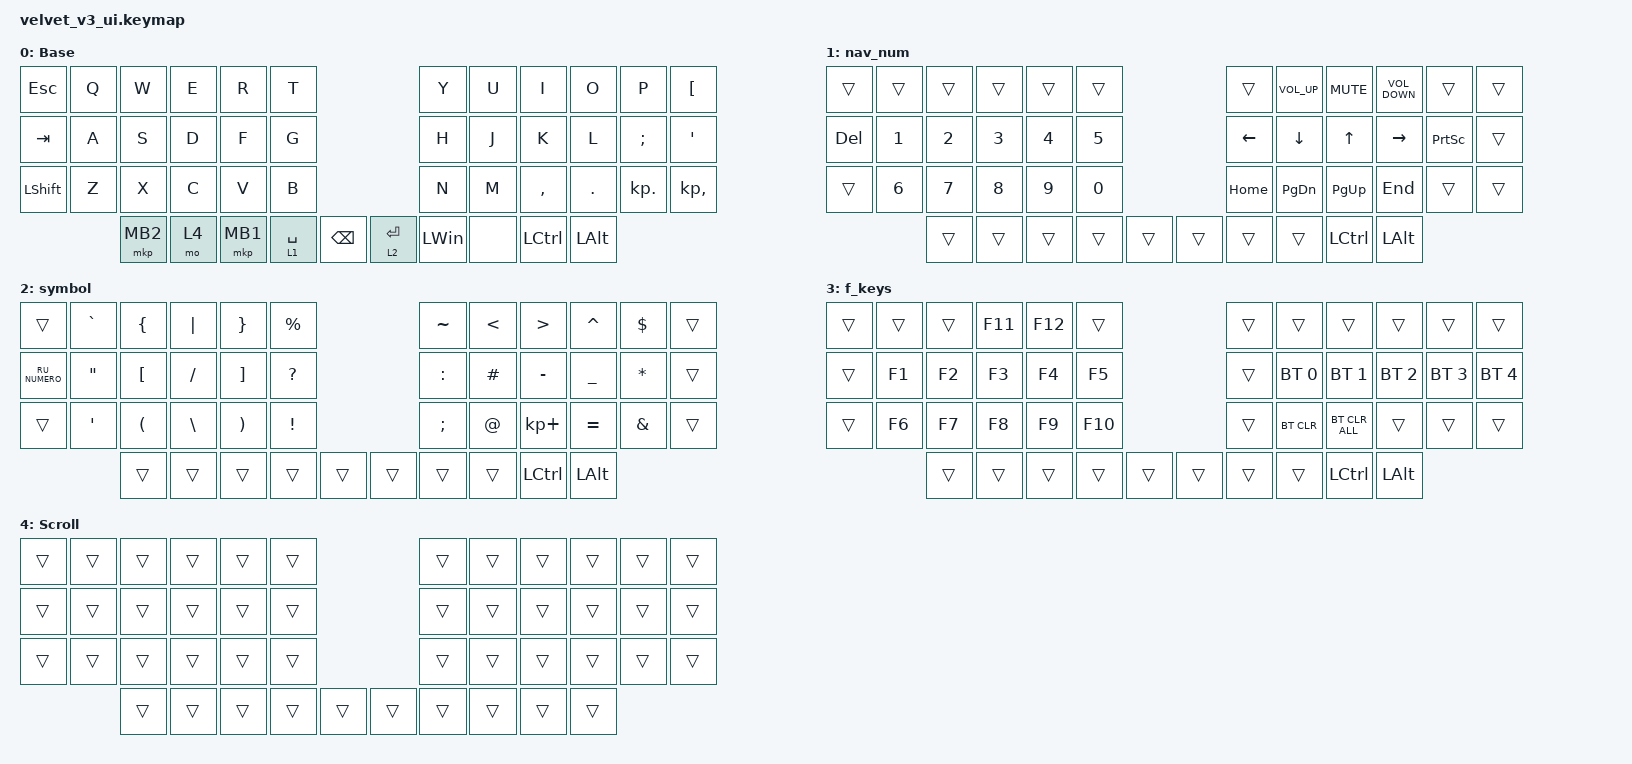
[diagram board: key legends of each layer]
#include "keys_ru.h"
#include <dt-bindings/zmk/input_transform.h>
#include <input/processors.dtsi>
#include <zephyr/dt-bindings/input/input-event-codes.h>
#include <behaviors.dtsi>
#include <dt-bindings/zmk/bt.h>
#include <dt-bindings/zmk/keys.h>
#include <dt-bindings/zmk/pointing.h>

/ {
    keymap {
        compatible = "zmk,keymap";

        base {
            bindings = <
&kp ESC    &kp Q  &kp W     &kp E  &kp R     &kp T                                      &kp Y         &kp U  &kp I      &kp O         &kp P          &kp LEFT_BRACKET
&kp TAB    &kp A  &kp S     &kp D  &kp F     &kp G                                      &kp H         &kp J  &kp K      &kp L         &kp SEMICOLON  &kp SINGLE_QUOTE
&kp LSHFT  &kp Z  &kp X     &kp C  &kp V     &kp B                                      &kp N         &kp M  &kp COMMA  &kp PERIOD    &kp KP_DOT     &kp KP_COMMA
                  &mkp MB2  &mo 4  &mkp MB1  &lt 1 SPACE  &kp BACKSPACE    &lt 2 ENTER  &kp LEFT_WIN  &none  &kp LCTRL  &kp LEFT_ALT
            >;

            display-name = "Base";
        };

        nav_num {
            bindings = <
&trans      &trans  &trans  &trans  &trans  &trans                    &trans          &kp C_VOLUME_UP  &kp K_MUTE    &kp C_VOLUME_DOWN  &trans           &trans
&kp DELETE  &kp N1  &kp N2  &kp N3  &kp N4  &kp N5                    &kp LEFT_ARROW  &kp DOWN_ARROW   &kp UP_ARROW  &kp RIGHT_ARROW    &kp PRINTSCREEN  &trans
&trans      &kp N6  &kp N7  &kp N8  &kp N9  &kp N0                    &kp HOME        &kp PAGE_DOWN    &kp PAGE_UP   &kp END            &trans           &trans
                    &trans  &trans  &trans  &trans  &trans    &trans  &trans          &trans           &kp LCTRL     &kp LEFT_ALT
            >;
        };

        symbol {
            bindings = <
&trans         &kp GRAVE          &kp LEFT_BRACE        &kp PIPE  &kp RIGHT_BRACE        &kp PERCENT                        &kp TILDE  &kp LESS_THAN  &kp GREATER_THAN  &kp CARET       &kp DOLLAR     &trans
&kp RU_NUMERO  &kp DOUBLE_QUOTES  &kp LBKT              &kp FSLH  &kp RBKT               &kp QUESTION                       &kp COLON  &kp HASH       &kp MINUS         &kp UNDERSCORE  &kp ASTERISK   &trans
&trans         &kp SINGLE_QUOTE   &kp LEFT_PARENTHESIS  &kp BSLH  &kp RIGHT_PARENTHESIS  &kp EXCLAMATION                    &kp SEMI   &kp AT_SIGN    &kp KP_PLUS       &kp EQUAL       &kp AMPERSAND  &trans
                                  &trans                &trans    &trans                 &trans           &trans    &trans  &trans     &trans         &kp LCTRL         &kp LEFT_ALT
            >;
        };

        f_keys {
            bindings = <
&trans  &trans  &trans  &kp F11  &kp F12  &trans                     &trans  &trans        &trans          &trans        &trans        &trans
&trans  &kp F1  &kp F2  &kp F3   &kp F4   &kp F5                     &trans  &bt BT_SEL 0  &bt BT_SEL 1    &bt BT_SEL 2  &bt BT_SEL 3  &bt BT_SEL 4
&trans  &kp F6  &kp F7  &kp F8   &kp F9   &kp F10                    &trans  &bt BT_CLR    &bt BT_CLR_ALL  &trans        &trans        &trans
                &trans  &trans   &trans   &trans   &trans    &trans  &trans  &trans        &kp LCTRL       &kp LEFT_ALT
            >;
        };

        scroll {
            bindings = <
&trans  &trans  &trans  &trans  &trans  &trans                    &trans  &trans  &trans  &trans  &trans  &trans
&trans  &trans  &trans  &trans  &trans  &trans                    &trans  &trans  &trans  &trans  &trans  &trans
&trans  &trans  &trans  &trans  &trans  &trans                    &trans  &trans  &trans  &trans  &trans  &trans
                &trans  &trans  &trans  &trans  &trans    &trans  &trans  &trans  &trans  &trans
            >;

            display-name = "Scroll";
        };
    };

    conditional_layers {
        compatible = "zmk,conditional-layers";

        f_layer {
            if-layers = <1 2>;
            then-layer = <3>;
        };
    };
};

&trackball { cpi = <1000>; };

&trackball_listener {
    input-processors = <&zip_xy_scaler 9 20>;

    scroller {
        layers = <4>;
        input-processors =
            <&zip_xy_transform INPUT_TRANSFORM_Y_INVERT>,
            <&zip_xy_scaler 1 32>,
            <&zip_xy_to_scroll_mapper>;
    };
};
